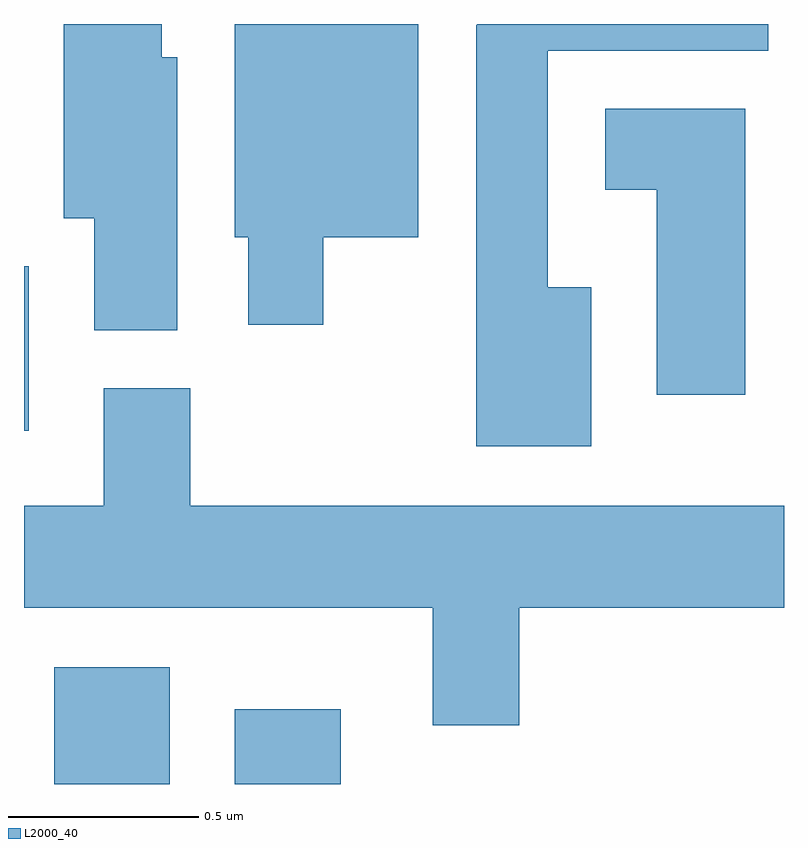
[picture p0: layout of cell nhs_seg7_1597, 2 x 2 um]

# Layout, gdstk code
import gdstk
lib = gdstk.Library(unit=1e-6, precision=1e-09)
def R(c, l, rs):  # rectangles x0, y0, x1, y1
    for r in rs: c.add(gdstk.rectangle(r[:2], r[2:], *l))
def P(c, l, *ps):  # polygons
    for p in ps: c.add(gdstk.Polygon(p, *l))
L2000_40 = (2000, 40)

nhs_seg7_1597 = lib.new_cell('nhs_seg7_1597')
R(nhs_seg7_1597, L2000_40, [(196.691,1758.252,196.994,1758.559), (197.166,1758.252,197.444,1758.449), (196.611,1759.181,196.624,1759.614)])
P(nhs_seg7_1597, L2000_40, [(197.399,1759.691),(197.649,1759.691),(197.649,1760.252),(197.166,1760.252),(197.166,1759.691),(197.201,1759.691),(197.201,1759.461),(197.399,1759.461)],
  [(197.014,1760.164),(196.974,1760.164),(196.974,1760.252),(196.716,1760.252),(196.716,1759.741),(196.796,1759.741),(196.796,1759.446),(197.014,1759.446)],
  [(198.104,1759.559),(197.989,1759.559),(197.989,1760.181),(198.569,1760.181),(198.569,1760.252),(197.804,1760.252),(197.801,1760.249),(197.801,1759.141),(198.104,1759.141)],
  [(198.509,1760.029),(198.141,1760.029),(198.141,1759.816),(198.276,1759.816),(198.276,1759.276),(198.509,1759.276)],
  [(197.914,1758.716),(198.611,1758.716),(198.611,1758.984),(197.049,1758.984),(197.049,1759.294),(196.821,1759.294),(196.821,1758.984),(196.611,1758.984),(196.611,1758.716),(197.686,1758.716),(197.686,1758.406),(197.914,1758.406)])

lib.write_gds('nhs_seg7_1597.gds')
